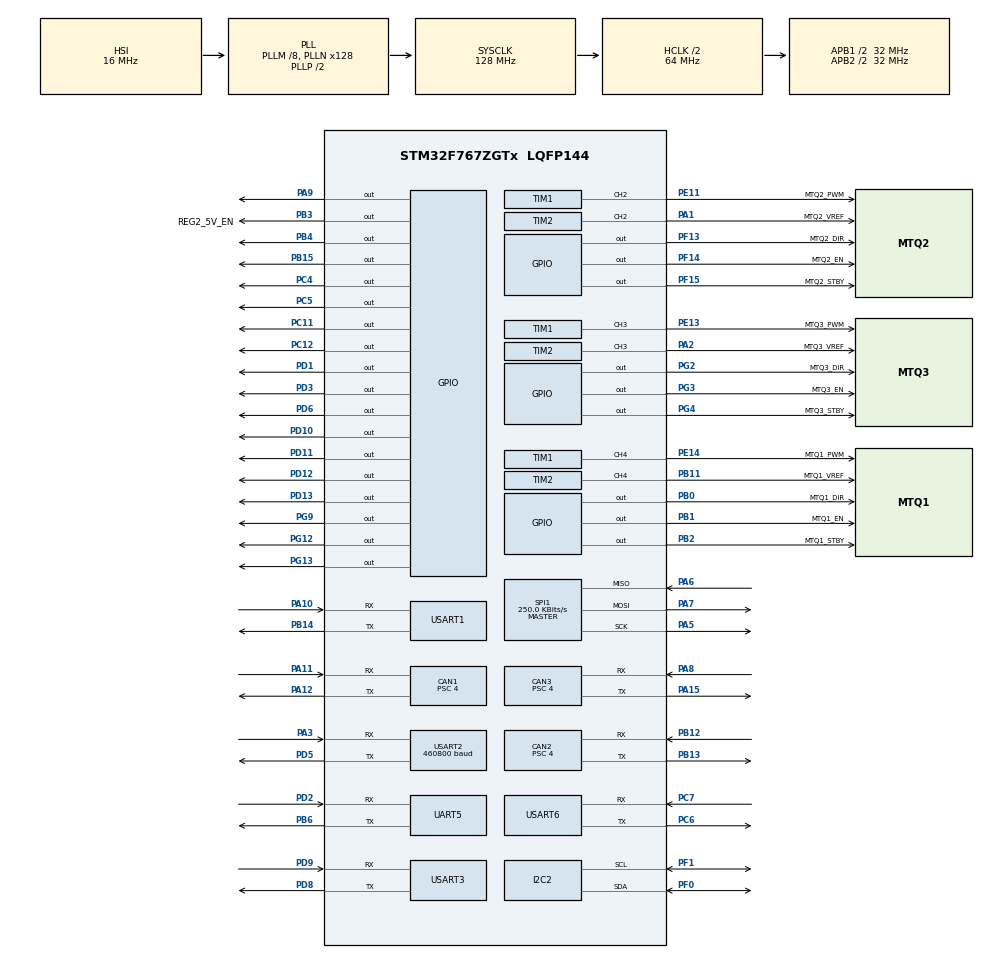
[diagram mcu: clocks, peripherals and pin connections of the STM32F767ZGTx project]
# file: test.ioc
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<<<<<<< HEAD
Mcu.Family=STM32L4
Mcu.Name=STM32L496Z(E-G)Tx
Mcu.Package=LQFP144
=======
CAN1.BS1=CAN_BS1_6TQ
CAN1.BS2=CAN_BS2_1TQ
CAN1.CalculateBaudRate=1000000
CAN1.CalculateTimeBit=1000
CAN1.CalculateTimeQuantum=125.0
CAN1.Prescaler=4
CAN2.BS1=CAN_BS1_6TQ
CAN2.BS2=CAN_BS2_1TQ
CAN2.CalculateBaudRate=1000000
CAN2.CalculateTimeBit=1000
CAN2.CalculateTimeQuantum=125.0
CAN2.Prescaler=4
CAN3.BS1=CAN_BS1_6TQ
CAN3.BS2=CAN_BS2_1TQ
CAN3.CalculateBaudRate=1000000
CAN3.CalculateTimeBit=1000
CAN3.CalculateTimeQuantum=125.0
CAN3.Prescaler=4
FATFS._MAX_SS=4096
FATFS._USE_LFN=1
I2C2.Timing=0x00707CBB
Mcu.Family=STM32F7
Mcu.Name=STM32F767ZGTx
Mcu.Package=LQFP144
NVIC.CAN1_RX0_IRQn=true\:0\:0\:false\:false\:true\:true\:true\:true
NVIC.CAN1_RX1_IRQn=true\:0\:0\:false\:false\:true\:true\:true\:true
NVIC.CAN1_SCE_IRQn=true\:0\:0\:false\:false\:true\:true\:true\:true
NVIC.CAN1_TX_IRQn=true\:0\:0\:false\:false\:true\:true\:true\:true
NVIC.CAN2_RX0_IRQn=true\:0\:0\:false\:false\:true\:true\:true\:true
NVIC.CAN2_RX1_IRQn=true\:0\:0\:false\:false\:true\:true\:true\:true
NVIC.CAN2_SCE_IRQn=true\:0\:0\:false\:false\:true\:true\:true\:true
NVIC.CAN2_TX_IRQn=true\:0\:0\:false\:false\:true\:true\:true\:true
NVIC.CAN3_RX0_IRQn=true\:0\:0\:false\:false\:true\:true\:true\:true
NVIC.CAN3_RX1_IRQn=true\:0\:0\:false\:false\:true\:true\:true\:true
NVIC.CAN3_SCE_IRQn=true\:0\:0\:false\:false\:true\:true\:true\:true
NVIC.CAN3_TX_IRQn=true\:0\:0\:false\:false\:true\:true\:true\:true
>>>>>>> 9c4df88b5fc8b034c395cb50010cc883288ff277
NVIC.PriorityGroup=NVIC_PRIORITYGROUP_4
<<<<<<< HEAD
=======
NVIC.TIM6_DAC_IRQn=true\:0\:0\:false\:false\:true\:true\:true\:true
NVIC.USART2_IRQn=true\:0\:0\:false\:false\:true\:true\:true\:true
PA1.GPIO_Label=MTQ2_VREF
PA1.Signal=S_TIM2_CH2
PA10.Mode=Asynchronous
PA10.Signal=USART1_RX
PA11.Mode=CAN_Activate
PA11.Signal=CAN1_RX
PA12.Mode=CAN_Activate
PA12.Signal=CAN1_TX
PA13.Mode=Serial_Wire
PA13.Signal=SYS_JTMS-SWDIO
PA14.Mode=Serial_Wire
PA14.Signal=SYS_JTCK-SWCLK
PA15.Mode=CAN_Activate
PA15.Signal=CAN3_TX
PA2.GPIO_Label=MTQ3_VREF
PA2.Signal=S_TIM2_CH3
PA3.Mode=Asynchronous
PA3.Signal=USART2_RX
PA5.Mode=Full_Duplex_Master
PA5.Signal=SPI1_SCK
PA6.Mode=Full_Duplex_Master
PA6.Signal=SPI1_MISO
PA7.Mode=Full_Duplex_Master
PA7.Signal=SPI1_MOSI
PA8.Mode=CAN_Activate
PA8.Signal=CAN3_RX
PA9.Signal=GPIO_Output
PB0.GPIO_Label=MTQ1_DIR
PB0.Signal=GPIO_Output
PB1.GPIO_Label=MTQ1_EN
PB1.Signal=GPIO_Output
PB11.GPIO_Label=MTQ1_VREF
PB11.Signal=S_TIM2_CH4
PB12.Mode=CAN_Activate
PB12.Signal=CAN2_RX
PB13.Mode=CAN_Activate
PB13.Signal=CAN2_TX
PB14.Mode=Asynchronous
PB14.Signal=USART1_TX
PB15.Signal=GPIO_Output
PB2.GPIO_Label=MTQ1_STBY
PB2.Signal=GPIO_Output
PB3.GPIO_Label=REG2_5V_EN
PB3.Signal=GPIO_Output
PB4.Signal=GPIO_Output
PB6.Mode=Asynchronous
PB6.Signal=UART5_TX
PC11.Signal=GPIO_Output
PC12.Signal=GPIO_Output
PC4.PinState=GPIO_PIN_SET
PC4.Signal=GPIO_Output
PC5.Signal=GPIO_Output
PC6.Mode=Asynchronous
PC6.Signal=USART6_TX
PC7.Mode=Asynchronous
PC7.Signal=USART6_RX
PD1.Signal=GPIO_Output
PD10.Signal=GPIO_Output
PD11.Signal=GPIO_Output
PD12.Signal=GPIO_Output
PD13.Signal=GPIO_Output
PD2.Mode=Asynchronous
PD2.Signal=UART5_RX
PD3.Signal=GPIO_Output
PD5.Mode=Asynchronous
PD5.Signal=USART2_TX
PD6.Signal=GPIO_Output
PD8.Mode=Asynchronous
PD8.Signal=USART3_TX
PD9.Mode=Asynchronous
PD9.Signal=USART3_RX
PE11.GPIO_Label=MTQ2_PWM
PE11.Signal=S_TIM1_CH2
PE13.GPIO_Label=MTQ3_PWM
PE13.Signal=S_TIM1_CH3
PE14.GPIO_Label=MTQ1_PWM
PE14.Signal=S_TIM1_CH4
PF0.Mode=I2C
PF0.Signal=I2C2_SDA
PF1.Mode=I2C
PF1.Signal=I2C2_SCL
PF13.GPIO_Label=MTQ2_DIR
PF13.Signal=GPIO_Output
PF14.GPIO_Label=MTQ2_EN
PF14.Signal=GPIO_Output
PF15.GPIO_Label=MTQ2_STBY
PF15.Signal=GPIO_Output
PG0.Signal=EVENTOUT
PG12.Signal=GPIO_Output
PG13.Signal=GPIO_Output
PG2.GPIO_Label=MTQ3_DIR
PG2.Signal=GPIO_Output
PG3.GPIO_Label=MTQ3_EN
PG3.Signal=GPIO_Output
PG4.GPIO_Label=MTQ3_STBY
PG4.Signal=GPIO_Output
PG9.Signal=GPIO_Output
PH0/OSC_IN.Mode=HSE-External-Oscillator
PH0/OSC_IN.Signal=RCC_OSC_IN
PH1/OSC_OUT.Mode=HSE-External-Oscillator
PH1/OSC_OUT.Signal=RCC_OSC_OUT
>>>>>>> 9c4df88b5fc8b034c395cb50010cc883288ff277
<<<<<<< HEAD
=======
>>>>>>> 9c4df88b5fc8b034c395cb50010cc883288ff277
ProjectManager.HeapSize=0x200
<<<<<<< HEAD
=======
>>>>>>> 9c4df88b5fc8b034c395cb50010cc883288ff277
ProjectManager.StackSize=0x400
<<<<<<< HEAD
ProjectManager.TargetToolchain=CMake
RCC.HSE_VALUE=8000000
RCC.HSI48_VALUE=48000000
RCC.HSI_VALUE=16000000
RCC.LSE_VALUE=32768
RCC.MSI_VALUE=4000000
RCC.VCOOutputFreq_Value=32000000
board=custom
=======
ProjectManager.TargetToolchain=STM32CubeIDE
RCC.AHBCLKDivider=RCC_SYSCLK_DIV2
RCC.AHBFreq_Value=64000000
RCC.APB1CLKDivider=RCC_HCLK_DIV2
RCC.APB1Freq_Value=32000000
RCC.APB1TimFreq_Value=64000000
RCC.APB2CLKDivider=RCC_HCLK_DIV2
RCC.APB2Freq_Value=32000000
RCC.APB2TimFreq_Value=64000000
RCC.CortexFreq_Value=64000000
RCC.HCLKFreq_Value=64000000
RCC.HSE_VALUE=25000000
RCC.HSI_VALUE=16000000
RCC.LSE_VALUE=32768
RCC.PLLM=8
RCC.PLLN=128
RCC.SYSCLKFreq_VALUE=128000000
RCC.SYSCLKSource=RCC_SYSCLKSOURCE_PLLCLK
RCC.USBFreq_Value=128000000
RCC.VCOOutputFreq_Value=256000000
SH.S_TIM1_CH2.0=TIM1_CH2,PWM Generation2 CH2
SH.S_TIM1_CH3.0=TIM1_CH3,PWM Generation3 CH3
SH.S_TIM1_CH4.0=TIM1_CH4,PWM Generation4 CH4
SH.S_TIM2_CH2.0=TIM2_CH2,PWM Generation2 CH2
SH.S_TIM2_CH3.0=TIM2_CH3,PWM Generation3 CH3
SH.S_TIM2_CH4.0=TIM2_CH4,PWM Generation4 CH4
SPI1.BaudRatePrescaler=SPI_BAUDRATEPRESCALER_128
SPI1.CRCCalculation=SPI_CRCCALCULATION_DISABLE
SPI1.CalculateBaudRate=250.0 KBits/s
SPI1.DataSize=SPI_DATASIZE_8BIT
SPI1.Direction=SPI_DIRECTION_2LINES
SPI1.Mode=SPI_MODE_MASTER
SPI1.VirtualType=VM_MASTER
TIM1.Channel-PWM\ Generation2\ CH2=TIM_CHANNEL_2
TIM1.Channel-PWM\ Generation3\ CH3=TIM_CHANNEL_3
TIM1.Channel-PWM\ Generation4\ CH4=TIM_CHANNEL_4
TIM1.Period=99
TIM1.Prescaler=31
TIM2.Channel-PWM\ Generation2\ CH2=TIM_CHANNEL_2
TIM2.Channel-PWM\ Generation3\ CH3=TIM_CHANNEL_3
TIM2.Channel-PWM\ Generation4\ CH4=TIM_CHANNEL_4
TIM6.Period=9999
TIM6.Prescaler=62999
USART1.VirtualMode-Asynchronous=VM_ASYNC
USART2.BaudRate=460800
USART2.VirtualMode-Asynchronous=VM_ASYNC
USART3.VirtualMode-Asynchronous=VM_ASYNC
USART6.VirtualMode-Asynchronous=VM_ASYNC
VP_FATFS_VS_Generic.Mode=User_defined
VP_TIM6_VS_ClockSourceINT.Mode=Enable_Timer
board=custom
>>>>>>> 9c4df88b5fc8b034c395cb50010cc883288ff277

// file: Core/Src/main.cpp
/* USER CODE BEGIN Header */
/**
  ******************************************************************************
  * @file           : main.c
  * @brief          : Main program body
  ******************************************************************************
  * @attention
  *
  * Copyright (c) 2024 STMicroelectronics.
  * All rights reserved.
  *
  * This software is licensed under terms that can be found in the LICENSE file
  * in the root directory of this software component.
  * If no LICENSE file comes with this software, it is provided AS-IS.
  *
  ******************************************************************************
  */
/* USER CODE END Header */
#include "main.h"
#include "can.h"
#include "fatfs.h"
#include "spi.h"
#include "tim.h"
#include "usart.h"
#include "gpio.h"
#include "i2c.h"

/* USER CODE BEGIN Includes */
#include "General.h"
#include "WHL500.h"
#include "KVH1750.h"
#include "kmCAN.h"
#include "CUBEMAG.h"
#include "OEM719.h"
#include "newuart.h"
#include "I2C/newPortI2C.h"
#include "INA219/newINA.h"
#include "STSPIN/newMTQ.h"
#include "MTQpin.h"
#include "MTQ_header.h"
/* USER CODE END Includes */

/* USER CODE BEGIN PV */
unsigned long crc;
//uint32_t time;
uint32_t speed = 0;
//adcs_rwa_data_t *RXbuff;
uint32_t rpm;
uint32_t rpm2;
uint32_t rpm3;
uint32_t rpm4;
uint8_t buffer[40];
float Mag[3];
//uint32_t time;
uint32_t old_time;
uint8_t check;
uint8_t hello[] = {"Start MCU!!"};
uint8_t loop[]  = {"in loop"};
uint8_t interrupt[] = {"interrupt"};
uint8_t Bestpos[] = {0xAA, 0x44, 0x12, 0x1C, 0x01, 0x00, 0x00, 0xC0,
					 0x20, 0x00, 0x00, 0x00, 0x00, 0xFF, 0x00, 0x00,
					 0x00, 0x00, 0x00, 0x00, 0x00, 0x00, 0x00, 0x00,
					 0x00, 0x00, 0x00, 0x00, 0xA0, 0x1F, 0x00, 0x00,
					 0x2A, 0x00, 0x00, 0x00, 0x02, 0x00, 0x00, 0x00,
					 0x00, 0x00, 0x00, 0x00, 0x00, 0x00, 0xF0, 0x3F,
					 0x00, 0x00, 0x00, 0x00, 0x00, 0x00, 0x00, 0x00,
					 0x00, 0x00, 0x00, 0x00, 0xD3, 0xF5, 0x10, 0x9A };

uint8_t Data_Buffer1[100];
uint8_t Data_Buffer2[100];
uint8_t Data_Buffer3[100];
float Roll = 0.0;
float roll = 0.0;
float Pitch = 0.0;
float pitch = 0.0;
float Yaw = 0.0;
float yaw = 0.0;
float Gyro[3];
float Accel[3];
int16_t Temp;
uint8_t Status;

CAN_RxHeaderTypeDef RxHeader;
CAN_TxHeaderTypeDef TxHeader;

NEWUART Serial5(&huart5,100);
newPortI2C I2C2BUS(&hi2c2, AS_MASTER);
newINA x_sensor(&I2C2BUS, (0x40<< 1));
newINA y_sensor(&I2C2BUS, (0x41<< 1));
newINA z_sensor(&I2C2BUS, (0x44<< 1));

newPortCAN CANWHL1(&hcan1, 0x01, CAN_RX_FIFO0);
newPortCAN CANWHL2(&hcan1, 0x01, CAN_RX_FIFO0);
newPortCAN CANWHL3(&hcan1, 0x01, CAN_RX_FIFO0);
newPortCAN CANWHL4(&hcan1, 0x01, CAN_RX_FIFO0);
newPortCAN CANMTM (&hcan1, 0x01, CAN_RX_FIFO0);
newPortCAN CANGNSS(&hcan1, 0x11, CAN_RX_FIFO0);

OEM719 GNSS(&CANGNSS,0x11,0x06);
kmCAN MTM(&CANMTM, 0x01);
CUBEMAG CM(&MTM);

newPortCAN test(&hcan3, 0x01, CAN_RX_FIFO0);
newPortCAN send(&hcan1,0x03,CAN_RX_FIFO0);

WHLREG whl1reg;
WHLREG whl2reg;
WHLREG whl3reg;
WHLREG whl4reg;

WHL500 whl1(&CANWHL1,&whl1reg,0x01);
WHL500 whl2(&CANWHL2,&whl2reg,0x01);
WHL500 whl3(&CANWHL3,&whl3reg,0x01);
WHL500 whl4(&CANWHL4,&whl4reg,0x01);
//WHL500 Test(&test,0x01);

NEWMTQ MTQx(&mtq_driver_x,&x_sensor,&mtq_profile_x);
NEWMTQ MTQy(&mtq_driver_y,&y_sensor,&mtq_profile_y);
NEWMTQ MTQz(&mtq_driver_z,&z_sensor,&mtq_profile_z);

void IMUData();
uint8_t CubemagCheck();
void MagCpy();
void timeloop(void (*function)(),uint16_t Ms);
void CAN_Transmit(uint8_t data[], uint16_t size);

void show_currentMTQ(NEWMTQ *p,int16_t *d) {
	//char buffer[100];
	static float Icur = 0;
	//Vbus = p->read_loadV();
	Icur = p->read_mA();
	*d = Icur;
	//P = p->read_Power();
	//Vsh = p->read_Vsh();
	HAL_Delay(50);

}

/* USER CODE END PV */

void SystemClock_Config(void);
/* USER CODE BEGIN PFP */

//void HAL_UART_RxCpltCallback(UART_HandleTypeDef *huart)
//{
//	IMUData();
//}
int16_t MTQ_currentx = 0;
int16_t MTQ_currenty = 0;
int16_t MTQ_currentz = 0;

int16_t cur_pwmx = 0;
int16_t cur_pwmy = 0;
int16_t cur_pwmz = 0;
/* USER CODE END PFP */

int main(void)
{

  /* MCU Configuration--------------------------------------------------------*/

  /* Reset of all peripherals, Initializes the Flash interface and the Systick. */
  HAL_Init();

  /* Configure the system clock */
  SystemClock_Config();

  /* Initialize all configured peripherals */
  MX_GPIO_Init();
  MX_UART5_Init();
  MX_CAN1_Init();
  MX_CAN2_Init();
  MX_CAN3_Init();
  MX_USART3_UART_Init();
  MX_USART6_UART_Init();
  MX_TIM1_Init();
  MX_SPI1_Init();
  MX_FATFS_Init();
  MX_USART2_UART_Init();
  MX_USART1_UART_Init();
  MX_TIM6_Init();
  MX_TIM2_Init();
  MX_I2C2_Init();
  /* USER CODE BEGIN 2 */

 // kvh1750_reg_setup();

  HAL_GPIO_WritePin(GPIOA, GPIO_PIN_9, GPIO_PIN_RESET);
  HAL_GPIO_WritePin(GPIOB, GPIO_PIN_15, GPIO_PIN_RESET);
  HAL_GPIO_WritePin(GPIOC, GPIO_PIN_11, GPIO_PIN_RESET);

  HAL_GPIO_WritePin(GPIOB, GPIO_PIN_0, GPIO_PIN_SET);
  HAL_GPIO_WritePin(GPIOB, GPIO_PIN_1, GPIO_PIN_SET);
  HAL_GPIO_WritePin(REG2_5V_EN_GPIO_Port, REG2_5V_EN_Pin, GPIO_PIN_SET);
 // HAL_GPIO_WritePin(GPIOB, GPIO_PIN_4, GPIO_PIN_SET);

  HAL_GPIO_WritePin(GPIOC, GPIO_PIN_5, GPIO_PIN_RESET);
  HAL_GPIO_WritePin(GPIOC, GPIO_PIN_4, GPIO_PIN_SET);

  HAL_GPIO_WritePin(GPIOD, GPIO_PIN_1, GPIO_PIN_SET);
  HAL_GPIO_WritePin(GPIOD, GPIO_PIN_3, GPIO_PIN_SET);
  HAL_GPIO_WritePin(GPIOD, GPIO_PIN_6, GPIO_PIN_SET);
  HAL_GPIO_WritePin(GPIOD, GPIO_PIN_10, GPIO_PIN_SET);
  HAL_GPIO_WritePin(GPIOD, GPIO_PIN_11, GPIO_PIN_SET);
  HAL_GPIO_WritePin(GPIOD, GPIO_PIN_12, GPIO_PIN_SET);
  HAL_GPIO_WritePin(GPIOD, GPIO_PIN_13, GPIO_PIN_SET);

  HAL_GPIO_WritePin(GPIOF, GPIO_PIN_13, GPIO_PIN_SET);
  HAL_GPIO_WritePin(GPIOF, GPIO_PIN_14, GPIO_PIN_SET);

  HAL_GPIO_WritePin(GPIOG, GPIO_PIN_2, GPIO_PIN_SET);
  HAL_GPIO_WritePin(GPIOG, GPIO_PIN_3, GPIO_PIN_SET);
  HAL_GPIO_WritePin(GPIOG, GPIO_PIN_9, GPIO_PIN_SET);
  HAL_GPIO_WritePin(GPIOG, GPIO_PIN_12, GPIO_PIN_SET);
  HAL_GPIO_WritePin(GPIOG, GPIO_PIN_13, GPIO_PIN_SET);

  HAL_CAN_ActivateNotification(&hcan1,CAN_IT_TX_MAILBOX_EMPTY|CAN_IT_RX_FIFO0_MSG_PENDING|CAN_IT_BUSOFF);
  HAL_CAN_ActivateNotification(&hcan2,CAN_IT_TX_MAILBOX_EMPTY|CAN_IT_RX_FIFO0_MSG_PENDING|CAN_IT_BUSOFF);
  HAL_CAN_ActivateNotification(&hcan3,CAN_IT_TX_MAILBOX_EMPTY|CAN_IT_RX_FIFO0_MSG_PENDING|CAN_IT_BUSOFF);
  HAL_CAN_Start(&hcan1);
  HAL_CAN_Start(&hcan2);
  HAL_CAN_Start(&hcan3);

  CANWHL1.set_filter(CAN_RX_FIFO0);
  CANWHL1.set_rxtx_head(whl1.getCANRxHeader(), whl1.getCANTxHeader());

  CANWHL2.set_filter(CAN_RX_FIFO0);
  CANWHL2.set_rxtx_head(whl2.getCANRxHeader(), whl2.getCANTxHeader());

  CANWHL3.set_filter(CAN_RX_FIFO0);
  CANWHL3.set_rxtx_head(whl3.getCANRxHeader(), whl3.getCANTxHeader());

  CANWHL4.set_filter(CAN_RX_FIFO0);
  CANWHL4.set_rxtx_head(whl4.getCANRxHeader(), whl4.getCANTxHeader());

  CANGNSS.set_filter(CAN_RX_FIFO0);
//
  whl1.SetDeviceIDfilter(7);
  whl2.SetDeviceIDfilter(4);
  whl3.SetDeviceIDfilter(20);
  whl4.SetDeviceIDfilter(18);

  whl1.RegSetup();
  whl2.RegSetup();
  whl3.RegSetup();
  whl4.RegSetup();
  //whl500_reg_setup();
//  cubemag_reg_setup();
//  oem719_reg_setup();
  whl1.SetMessageParam(PRIOR_HIGH,2, PARAMETER_SERVICE, 35, 0x8B);
  whl2.SetMessageParam(PRIOR_HIGH,4, PARAMETER_SERVICE, 35, 0x8B);
  whl3.SetMessageParam(PRIOR_HIGH,5, PARAMETER_SERVICE, 35, 0x8B);
  whl4.SetMessageParam(PRIOR_HIGH,6, PARAMETER_SERVICE, 35, 0x8B);
////for(int i= 0; i < 73; i++)
//{
  whl1.SendCommand(SET, pid_en,      PARAM_TYPE_UINT8,  1);
  whl1.SendCommand(SET, drv_enable,  PARAM_TYPE_UINT8,  1);
  whl1.SendCommand(SET, mrpm_target, PARAM_TYPE_UINT32, 1000000);
////
  whl2.SendCommand(SET, pid_en,      PARAM_TYPE_UINT8,  1);
  whl2.SendCommand(SET, drv_enable,  PARAM_TYPE_UINT8,  1);
  whl2.SendCommand(SET, mrpm_target, PARAM_TYPE_UINT32, 1500000);
////
  whl3.SendCommand(SET, pid_en,      PARAM_TYPE_UINT8,  1);
  whl3.SendCommand(SET, drv_enable,  PARAM_TYPE_UINT8,  1);
  whl3.SendCommand(SET, mrpm_target, PARAM_TYPE_UINT32, 2000000);

  whl4.SendCommand(SET, pid_en,      PARAM_TYPE_UINT8,  1);
  whl4.SendCommand(SET, drv_enable,  PARAM_TYPE_UINT8,  1);
  whl4.SendCommand(SET, mrpm_target, PARAM_TYPE_UINT32, 1000000);

  char buffer[70];
  Serial5.begin(115200);
//  HAL_UARTEx_ReceiveToIdle_DMA(Serial5.getHandleTypeDef(), rx_buf_u5,
//      			rx_size);
  Serial5.println("Hello");

  x_sensor.begin();
  y_sensor.begin();
  z_sensor.begin();

  mtq_driver_x.begin();
  mtq_driver_y.begin();
  mtq_driver_z.begin();
 // HAL_GPIO_WritePin(GPIOC, GPIO_PIN_12, GPIO_PIN_SET);

//  CANGNSS.set_rxtx_head(&RxHeader, &TxHeader);
//  HAL_Delay(1000);
//  for(int i = 0; i < 5; i++)
//  {
//  GNSS.binary_log(CC0M2, bestXYZ, ONTIME, 0.05);
// GNSS.binary_log(CC0M2, bestPos, ONTIME, 0.05);
	//  GNSS.binary_log(CC0M2, bestPos, ONTIME, 0.05);
	//  GNSS.TxMessage(Bestpos, sizeof(Bestpos), &TxHeader);
  	//  CAN_Transmit(Bestpos, sizeof(Bestpos));
//  }

//  for(int i = 0; i < 5; i++)
//  {
//	  GNSS.binary_log(CC0M2, bestXYZ, ONCE, 0);
	//  GNSS.TxMessage(Bestpos, sizeof(Bestpos), &TxHeader);
  	//  CAN_Transmit(Bestpos, sizeof(Bestpos));
//  }
//
//
//  CANGNSS.set_filter(CAN_RX_FIFO0);
//  crc = GNSS.CalculateBlockCRC32((sizeof(Bestpos)-4), Bestpos, 1);

//  GNSS.binary_log(CC0M2, 0x2A, ONTIME, 1.0);
//  HAL_TIM_Base_Start_IT(&htim6);
//  HAL_UART_Transmit(&huart5,hello,sizeof(hello), 500);
  /* USER CODE END 2 */

  /* Infinite loop */
  /* USER CODE BEGIN WHILE */
//  MTM.request_data(0x34, PriMagMeasurement);

  while (1)
  {
    /* USER CODE END WHILE */

    /* USER CODE BEGIN 3 */

//	  HAL_UART_Transmit(&huart5,loop,sizeof(loop), 500);
//	  HAL_Delay(10000);
	  //__SEV();

//	  GNSS.binary_log(CC0M2, bestXYZ, ONCE, 0);
//	  GNSS.binary_log(CC0M2, bestPos, ONCE, 0);
//	  LoopDelay(500);
//	  GNSS.getBestPos();
//	  whl1.SendCommand(GET, mrpm);
//	  HAL_Delay(20);
//	  whl2.SendCommand(GET, mrpm);
//	  HAL_Delay(20);
//	  whl3.SendCommand(GET, mrpm);
//	  HAL_Delay(20);
//	  whl4.SendCommand(GET, mrpm);
//	  HAL_Delay(20);
//
//	  MTM.request_data(0x34, PriMagMeasurement);
//	  HAL_Delay(20);
//	  check = CM.DeviceCheck();
	  //IMUData();
//	  whl1.SendCommand(SET, mrpm_target, PARAM_TYPE_UINT32, (rpm*1000));
//	  whl2.SendCommand(SET, mrpm_target, PARAM_TYPE_UINT32, (rpm2*1000));
//	  whl3.SendCommand(SET, mrpm_target, PARAM_TYPE_UINT32, (rpm3*1000));
//	  whl4.SendCommand(SET, mrpm_target, PARAM_TYPE_UINT32, (rpm4*1000));
	//  HAL_Delay(50);

//	  HAL_UART_Transmit(huart, pData, Size, Timeout)
//	  HAL_UART_Transmit(&huart2, TEST, sizeof(TEST), 1000);

	 // IMUData();
	  show_currentMTQ(&MTQx,&MTQ_currentx);
	  show_currentMTQ(&MTQy,&MTQ_currenty);
	  show_currentMTQ(&MTQz,&MTQ_currentz);
	  sprintf(buffer,"MTQ Current X Y Z : %d, %d, %d\r\n", MTQ_currentx,MTQ_currenty,MTQ_currentz);
	  Serial5.print(buffer, 0);
	  MTQx.run_raw_pwm(cur_pwmx,65534);
	  MTQy.run_raw_pwm(cur_pwmy,65534);
	  MTQz.run_raw_pwm(cur_pwmz,65534);
	  HAL_Delay(200);
  }
  /* USER CODE END 3 */
}

void SystemClock_Config(void)
{
  RCC_OscInitTypeDef RCC_OscInitStruct = {0};
  RCC_ClkInitTypeDef RCC_ClkInitStruct = {0};

  /** Configure the main internal regulator output voltage
  */
  __HAL_RCC_PWR_CLK_ENABLE();
  __HAL_PWR_VOLTAGESCALING_CONFIG(PWR_REGULATOR_VOLTAGE_SCALE3);

  /** Initializes the RCC Oscillators according to the specified parameters
  * in the RCC_OscInitTypeDef structure.
  */
  RCC_OscInitStruct.OscillatorType = RCC_OSCILLATORTYPE_HSI;
  RCC_OscInitStruct.HSIState = RCC_HSI_ON;
  RCC_OscInitStruct.HSICalibrationValue = RCC_HSICALIBRATION_DEFAULT;
  RCC_OscInitStruct.PLL.PLLState = RCC_PLL_ON;
  RCC_OscInitStruct.PLL.PLLSource = RCC_PLLSOURCE_HSI;
  RCC_OscInitStruct.PLL.PLLM = 8;
  RCC_OscInitStruct.PLL.PLLN = 128;
  RCC_OscInitStruct.PLL.PLLP = RCC_PLLP_DIV2;
  RCC_OscInitStruct.PLL.PLLQ = 2;
  RCC_OscInitStruct.PLL.PLLR = 2;
  if (HAL_RCC_OscConfig(&RCC_OscInitStruct) != HAL_OK)
  {
    Error_Handler();
  }

  /** Initializes the CPU, AHB and APB buses clocks
  */
  RCC_ClkInitStruct.ClockType = RCC_CLOCKTYPE_HCLK|RCC_CLOCKTYPE_SYSCLK
                              |RCC_CLOCKTYPE_PCLK1|RCC_CLOCKTYPE_PCLK2;
  RCC_ClkInitStruct.SYSCLKSource = RCC_SYSCLKSOURCE_PLLCLK;
  RCC_ClkInitStruct.AHBCLKDivider = RCC_SYSCLK_DIV2;
  RCC_ClkInitStruct.APB1CLKDivider = RCC_HCLK_DIV2;
  RCC_ClkInitStruct.APB2CLKDivider = RCC_HCLK_DIV2;

  if (HAL_RCC_ClockConfig(&RCC_ClkInitStruct, FLASH_LATENCY_2) != HAL_OK)
  {
    Error_Handler();
  }
}

/* USER CODE BEGIN 4 */
void CAN_Transmit(uint8_t data[], uint16_t size)
{

	uint32_t TxMailBox;

	uint16_t numFrames = (size + 8 - 1) / 8;
	TxHeader.ExtId = 0x4061C11;

	for (uint16_t frameIndex = 0; frameIndex < numFrames; frameIndex++)
	{

	    if (frameIndex == (numFrames - 1))
	    {
	      TxHeader.DLC = size % 8;
	      if (TxHeader.DLC == 0)
	      {
	        TxHeader.DLC = 8;
	      }
	    }

	    if (HAL_CAN_AddTxMessage(&hcan1, &TxHeader, (data + (frameIndex * 8)), &TxMailBox) != HAL_OK)
	    {
	      Error_Handler();
	    }

	    HAL_Delay(1);
	  //  for (int i = 0; i<700; i++){}
	   // while (HAL_CAN_GetTxMailboxesFreeLevel(&hcan1) == 0) {

	   // }
	  }
}

void HAL_CAN_RxFifo0MsgPendingCallback(CAN_HandleTypeDef *hcan)
{
//	whl1.RxMessage();

		uint8_t RxMsg[8];
//		static uint8_t RxIndex1 = 0;
		static uint8_t RxIndex2 = 0;
		static uint8_t RxIndex3 = 0;

		if (hcan->Instance == CAN1)
		{

//			CM.RxMessage();
//			whl1.RxMessage();
//			GNSS.RxMessage();
//			GNSS.getBestXYZ();
//			CM.RxMessage();
//			whl1.RxMessage();
//			whl2.RxMessage();
//			whl3.RxMessage();
//			whl4.RxMessage();

//			if(HAL_CAN_GetRxMessage(&hcan1, CAN_RX_FIFO0, &RxHeader, RxMsg) != HAL_OK)
//			{
//				Error_Handler();
//			}
//
//				memcpy(Data_Buffer1+RxIndex1,RxMsg,8);
//				RxIndex1 += 8;

		}

		if (hcan->Instance == CAN2)
		{
			if(HAL_CAN_GetRxMessage(&hcan2, CAN_RX_FIFO0, &RxHeader, RxMsg) != HAL_OK)
			{
				Error_Handler();
			}

		//	memcpy(Data_Buffer2+RxIndex2,RxMsg,8);
			RxIndex2 += 8;
		}

		if (hcan->Instance == CAN3)
		{
			if(HAL_CAN_GetRxMessage(&hcan3, CAN_RX_FIFO0, &RxHeader, RxMsg) != HAL_OK)
			{
				Error_Handler();
			}

			//memcpy(Data_Buffer3+RxIndex3,RxMsg,8);
			RxIndex3 += 8;
		}
		/*
		 * incoming new message
		 * clear buffer
		 */

		// copy data to buffer
//			memcpy(Data_Buffer+RxIndex,RxMsg,8);
//			RxIndex += 8;

}

void HAL_TIM_PeriodElapsedCallback(TIM_HandleTypeDef *htim)
{
  /* USER CODE BEGIN Callback 0 */

  /* USER CODE END Callback 0 */
  if (htim->Instance == TIM6)
  {

	 // HAL_UART_Transmit(&huart5,interrupt,sizeof(interrupt), 500);
	  __SEV();
  }
  /* USER CODE BEGIN Callback 1 */

  /* USER CODE END Callback 1 */
}

void IMUData()
{

	  HAL_UART_Receive(&huart2, buffer, 36,100);
	  BigEndianCpy((uint8_t *)Gyro,12,buffer+4);
//	  BigEndianCpy((uint8_t *)Accel,12,buffer+16);
//	  BigEndianCpy((uint8_t *)&Temp,2,buffer+30);
	  Status = buffer[28];

}

/* USER CODE END 4 */

void Error_Handler(void)
{
  __disable_irq();
  while (1)
  {
  }
}
